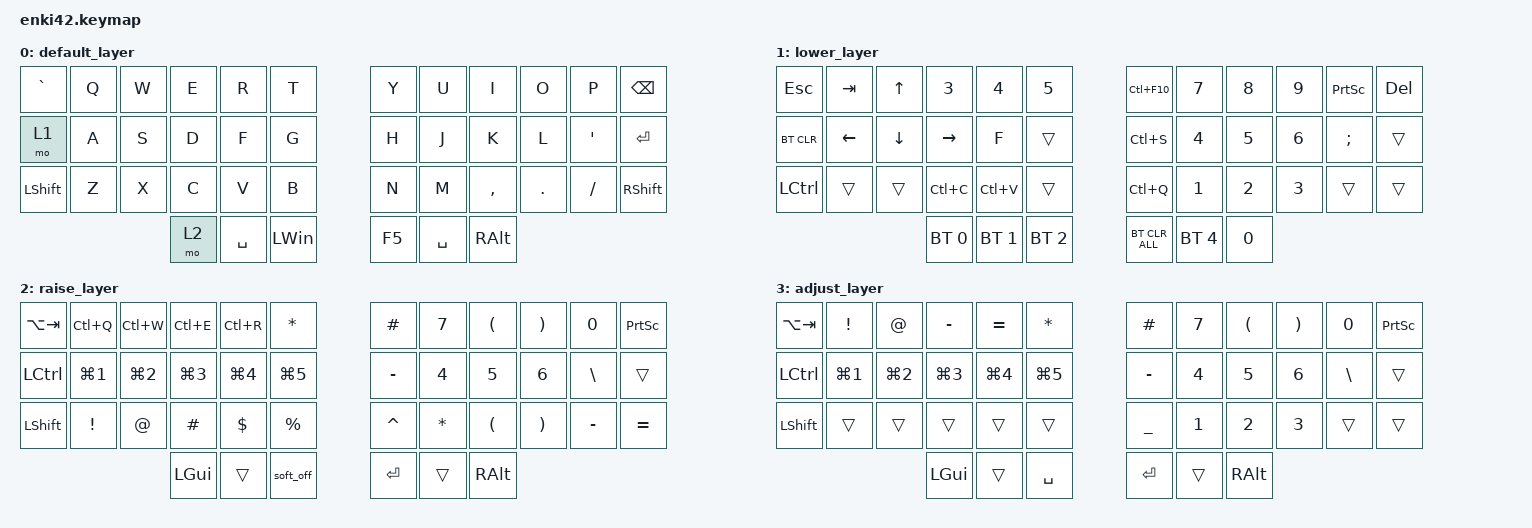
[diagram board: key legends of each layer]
/*
 * Copyright (c) 2020 The ZMK Contributors
 *
 * SPDX-License-Identifier: MIT
 */

#include <behaviors.dtsi>
#include <dt-bindings/zmk/keys.h>
#include <dt-bindings/zmk/bt.h>

#include <dt-bindings/zmk/ext_power.h>

#define DEF 0
#define LWR 1
#define RSE 2
#define ADJ 3

&lt { quick_tap_ms = <220>; };
&mt { quick_tap_ms = <220>; };

/ {
    macros {
        numdot: numdot {
            label = "ZM_numdot";
            compatible = "zmk,behavior-macro";
            #binding-cells = <0>;
            wait-ms = <40>;
            tap-ms = <40>;
            bindings
                = <&macro_press   &kp LALT>    
                , <&macro_tap     &kp KP_N4 &kp KP_N6>    
                , <&macro_release &kp LALT>
                ;
        };
        grtsgn: grtsgn {
            label = "ZM_grtsgn";
            compatible = "zmk,behavior-macro";
            #binding-cells = <0>;
            wait-ms = <40>;
            tap-ms = <40>;
            bindings
                = <&macro_press   &kp LALT>    
                , <&macro_tap     &kp KP_N6 &kp KP_N2>    
                , <&macro_release &kp LALT>
                ;
        };
    };
};
/ {
        keymap {
                compatible = "zmk,keymap";

                default_layer {
// ------------------------------------------------------------------------------------------------
//| LGUI/] |  Q  |  W  |  E  |  R  |  T  |   |  Y  |  U   |  I  |  O  |  P  | RGUI/[ | 
//| CTRL/` |  A  |  S  |  D  |  F  |  G  |   |  H  |  J   |  K  |  L  |  ;  | CTRL/' |
//| LALT/\ |  Z  |  X  |  C  |  V  |  B  |   |  N  |  M   |  ,  |  .  |  /  | RALT/- |
//                             | RSE | SPC | LWR |   | LWR | BKSP | RSE |
                        bindings = <
  &kp GRAVE  &kp Q  &kp W  &kp E  &kp R      &kp T       &kp Y   &kp U      &kp I      &kp O    &kp P     &kp BSPC
&mo 1      &kp A  &kp S  &kp D  &kp F      &kp G       &kp H   &kp J      &kp K      &kp L    &kp SQT   &kp RET
&kp LSHFT  &kp Z  &kp X  &kp C  &kp V      &kp B       &kp N   &kp M      &kp COMMA  &kp DOT  &kp FSLH  &kp RSHFT
                         &mo 2  &kp SPACE  &kp LWIN    &kp F5  &kp SPACE  &kp RALT
                        >;
                };
                lower_layer {
// -----------------------------------------------------------------------------------------
//|LGUI/CAPS |  *  |  7 |  8  |  9  |  +  |    |  !  |  @  |  #  |  $  |  %  | RGUI/F1 |
//|CTRL/MENU |  /  |  4 |  5  |  6  |  -  |    |  ^  |  &  |  *  |  (  |  )  | CTRL/F2 |
//|  LALT/=  |  0  |  1 |  4  |  3  |  .  |    |  ls |  F4 |  F5 |  F6 |  F7 | RALT/F3 |
//                      | ADJ | ___ | ___ |    | ___ | ___ | ADJ |
                        bindings = <
&kp ESC     &kp TAB   &kp UP    &kp N3        &kp N4        &kp N5          &kp LC(F10)     &kp N7        &kp N8  &kp N9  &kp PSCRN  &kp DEL
&bt BT_CLR  &kp LEFT  &kp DOWN  &kp RIGHT     &kp F         &trans          &kp LC(S)       &kp N4        &kp N5  &kp N6  &kp SEMI   &trans
&kp LCTRL   &trans    &trans    &kp LC(C)     &kp LC(V)     &trans          &kp LC(Q)       &kp N1        &kp N2  &kp N3  &trans     &trans
                                &bt BT_SEL 0  &bt BT_SEL 1  &bt BT_SEL 2    &bt BT_CLR_ALL  &bt BT_SEL 4  &kp N0
                        >;
                };
                raise_layer {
// -----------------------------------------------------------------------------------------
//| LGUI |  VOLU  |  PGUP  | PLAY | HOME | ___  |            | ___  | HOME | PLAY| PGUP | VOLU | RGUI |
//| CTRL |  VOLD  |  LEFT  |  UP  | DOWN | RGHT |            | RGHT | DOWN | UP  | LEFT | VOLD | CTRL | 
//| LALT |  MUTE  |  PGDN  |  ___ | END  | ___  |            | ___  | END  | ___ | PGDN | MUTE | RALT |
//                          | ___ | ___  | ADJ  |            | ADJ  | ___  | ___ |
                        bindings = <
&kp LA(TAB)  &kp LC(Q)        &kp LC(W)   &kp LC(E)   &kp LC(R)   &kp STAR       &kp HASH   &kp N7    &kp LPAR              &kp RPAR               &kp N0     &kp PSCRN
&kp LCTRL    &kp LG(N1)       &kp LG(N2)  &kp LG(N3)  &kp LG(N4)  &kp LG(N5)     &kp MINUS  &kp N4    &kp N5                &kp N6                 &kp BSLH   &trans
&kp LSHFT    &kp EXCLAMATION  &kp AT      &kp HASH    &kp DOLLAR  &kp PERCENT    &kp CARET  &kp STAR  &kp LEFT_PARENTHESIS  &kp RIGHT_PARENTHESIS  &kp MINUS  &kp EQUAL
                                          &kp LGUI    &trans      &soft_off      &kp RET    &trans    &kp RALT
                        >; 
                };
                                adjust_layer {
// -----------------------------------------------------------------------------------------
//| BLDR |     |     |     |     |     |   |     |     |     |     |     | BLDR |
//| BTCLR| BT0 | BT1 | BT2 | BT3 | BT4 |   | BT4 | BT3 | BT2 | BT1 | BT0 | BTCLR|
//|pwrOFF|NUMLK|     |     |     |     |   |     |     |     |     |     |      |
//                   |     |     |     |   |     |     |     |
                        bindings = <
&kp LA(TAB) &kp EXCL &kp AT &kp MINUS &kp EQUAL &kp STAR   &kp HASH &kp N7 &kp LPAR &kp RPAR &kp N0 &kp PSCRN
   &kp LCTRL &kp LG(N1) &kp LG(N2) &kp LG(N3) &kp LG(N4) &kp LG(N5)   &kp MINUS &kp N4 &kp N5 &kp N6 &kp BSLH &trans
   &kp LSHFT &trans &trans &trans &trans &trans   &kp UNDER &kp N1 &kp N2 &kp N3 &trans &trans
                             &kp LGUI &trans   &kp SPACE   &kp RET   &trans    &kp RALT
                        >;
                };
        };
};
